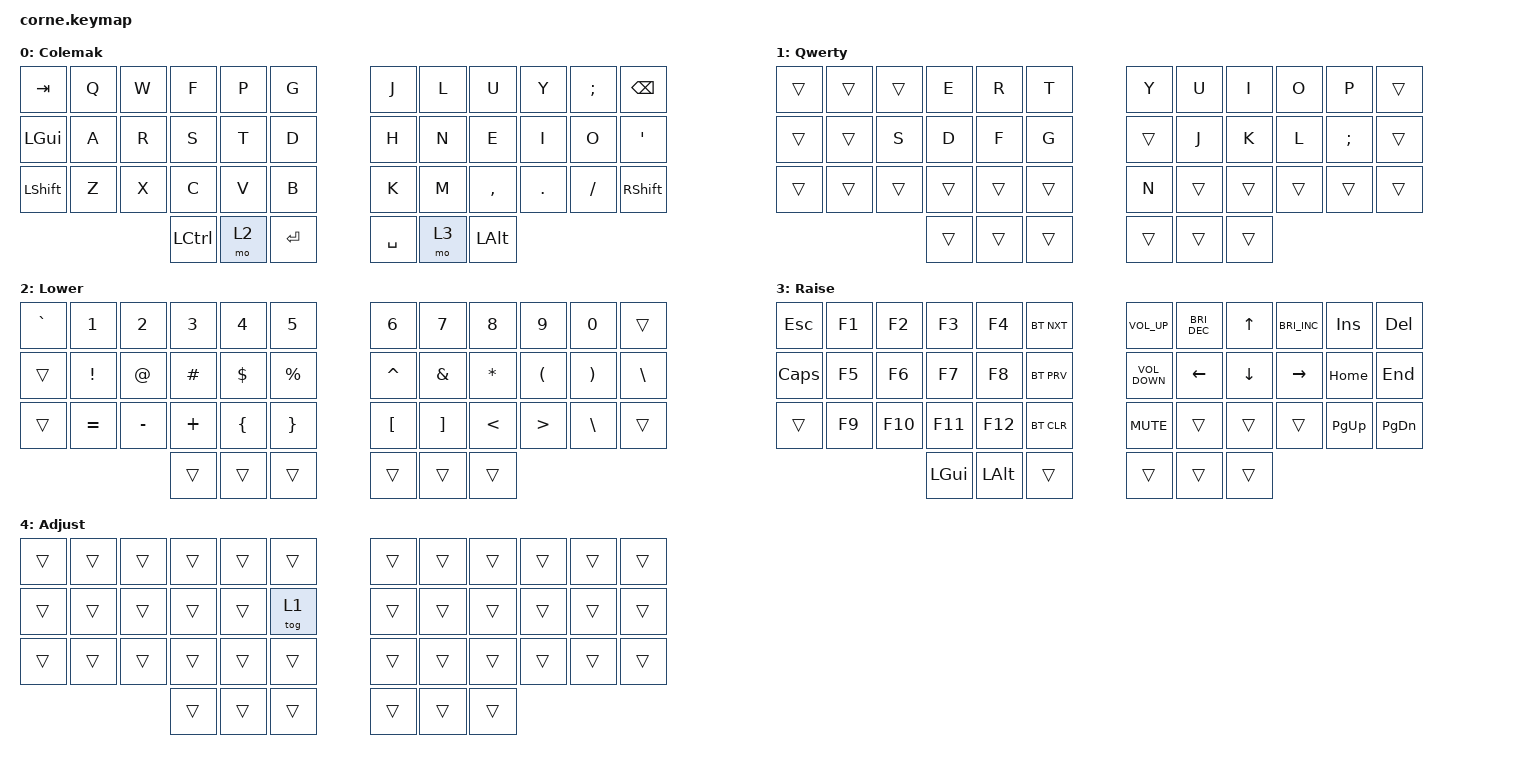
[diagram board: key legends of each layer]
/*
 * Copyright (c) 2020 The ZMK Contributors
 *
 * SPDX-License-Identifier: MIT
 */

#include <behaviors.dtsi>
#include <dt-bindings/zmk/bt.h>
#include <dt-bindings/zmk/keys.h>

/ {
    keymap {
        compatible = "zmk,keymap";

        colemak {
            // -----------------------------------------------------------------------------------------
            // |  TAB |  Q  |  W  |  E  |  R  |  T  |   |  Y  |  U   |  I  |  O  |  P  | BKSP |
            // | CTRL |  A  |  S  |  D  |  F  |  G  |   |  H  |  J   |  K  |  L  |  ;  |  '   |
            // | SHFT |  Z  |  X  |  C  |  V  |  B  |   |  N  |  M   |  ,  |  .  |  /  | ESC  |
            //                    | GUI | LWR | SPC |   | ENT | RSE  | ALT |

            display-name = "Colemak";
            bindings = <
&kp TAB       &kp Q  &kp W  &kp F      &kp P  &kp G        &kp J      &kp L  &kp U         &kp Y    &kp SEMICOLON  &kp BSPC
&kp LEFT_GUI  &kp A  &kp R  &kp S      &kp T  &kp D        &kp H      &kp N  &kp E         &kp I    &kp O          &kp SQT
&kp LSHFT     &kp Z  &kp X  &kp C      &kp V  &kp B        &kp K      &kp M  &kp COMMA     &kp DOT  &kp FSLH       &kp RIGHT_SHIFT
                            &kp LCTRL  &mo 2  &kp ENTER    &kp SPACE  &mo 3  &kp LEFT_ALT
            >;
        };

        qwerty {
            bindings = <
&trans  &trans  &trans  &kp E   &kp R   &kp T     &kp Y   &kp U   &kp I   &kp O   &kp P     &trans
&trans  &trans  &kp S   &kp D   &kp F   &kp G     &trans  &kp J   &kp K   &kp L   &kp SEMI  &trans
&trans  &trans  &trans  &trans  &trans  &trans    &kp N   &trans  &trans  &trans  &trans    &trans
                        &trans  &trans  &trans    &trans  &trans  &trans
            >;

            label = "Qwerty";
        };

        lower {
            // -----------------------------------------------------------------------------------------
            // |  TAB |  1  |  2  |  3  |  4  |  5  |   |  6  |  7  |  8  |  9  |  0  | BKSP |
            // | BTCLR| BT1 | BT2 | BT3 | BT4 | BT5 |   | LFT | DWN |  UP | RGT |     |      |
            // | SHFT |     |     |     |     |     |   |     |     |     |     |     |      |
            //                    | GUI |     | SPC |   | ENT |     | ALT |

            display-name = "Lower";
            bindings = <
&kp GRAVE  &kp N1           &kp N2       &kp N3     &kp N4          &kp N5             &kp N6            &kp N7             &kp N8         &kp N9                &kp N0                 &trans
&trans     &kp EXCLAMATION  &kp AT_SIGN  &kp POUND  &kp DOLLAR      &kp PERCENT        &kp CARET         &kp AMPS           &kp STAR       &kp LEFT_PARENTHESIS  &kp RIGHT_PARENTHESIS  &kp BACKSLASH
&trans     &kp EQUAL        &kp MINUS    &kp PLUS   &kp LEFT_BRACE  &kp RIGHT_BRACE    &kp LEFT_BRACKET  &kp RIGHT_BRACKET  &kp LESS_THAN  &kp GREATER_THAN      &kp BACKSLASH          &trans
                                         &trans     &trans          &trans             &trans            &trans             &trans
            >;
        };

        raise {
            // -----------------------------------------------------------------------------------------
            // |  TAB |  !  |  @  |  #  |  $  |  %  |   |  ^  |  &  |  *  |  (  |  )  | BKSP |
            // | CTRL |     |     |     |     |     |   |  -  |  =  |  [  |  ]  |  \  |  `   |
            // | SHFT |     |     |     |     |     |   |  _  |  +  |  {  |  }  | "|" |  ~   |
            //                    | GUI |     | SPC |   | ENT |     | ALT |

            display-name = "Raise";
            bindings = <
&kp ESC       &kp F1  &kp F2   &kp F3    &kp F4        &bt BT_NXT    &kp C_VOLUME_UP    &kp C_BRIGHTNESS_DEC  &kp UP_ARROW    &kp C_BRIGHTNESS_INC  &kp INSERT   &kp DELETE
&kp CAPSLOCK  &kp F5  &kp F6   &kp F7    &kp F8        &bt BT_PRV    &kp C_VOLUME_DOWN  &kp LEFT              &kp DOWN_ARROW  &kp RIGHT             &kp HOME     &kp END
&trans        &kp F9  &kp F10  &kp F11   &kp F12       &bt BT_CLR    &kp K_MUTE         &trans                &trans          &trans                &kp PAGE_UP  &kp PAGE_DOWN
                               &kp LGUI  &kp LEFT_ALT  &trans        &trans             &trans                &trans
            >;
        };

        adj {
            bindings = <
&trans  &trans  &trans  &trans  &trans  &trans    &trans  &trans  &trans  &trans  &trans  &trans
&trans  &trans  &trans  &trans  &trans  &tog 1    &trans  &trans  &trans  &trans  &trans  &trans
&trans  &trans  &trans  &trans  &trans  &trans    &trans  &trans  &trans  &trans  &trans  &trans
                        &trans  &trans  &trans    &trans  &trans  &trans
            >;

            label = "Adjust";
        };
    };

    conditional_layers {
        compatible = "zmk,conditional-layers";

        adj_active {
            if-layers = <2 3>;
            then-layer = <4>;
        };
    };
};
